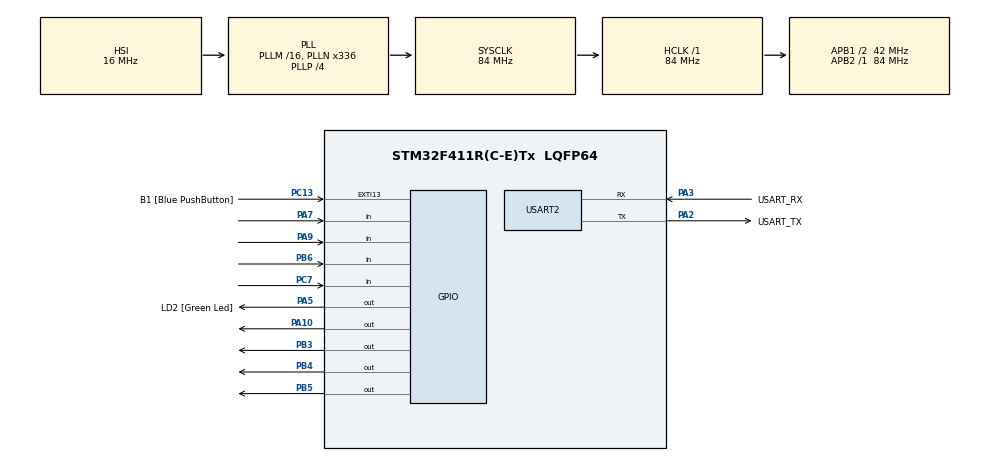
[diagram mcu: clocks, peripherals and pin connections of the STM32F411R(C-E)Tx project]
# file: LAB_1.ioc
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Mcu.Family=STM32F4
Mcu.Name=STM32F411R(C-E)Tx
Mcu.Package=LQFP64
NVIC.PriorityGroup=NVIC_PRIORITYGROUP_0
PA10.PinState=GPIO_PIN_SET
PA10.Signal=GPIO_Output
PA13.GPIO_Label=TMS
PA13.Mode=Serial_Wire
PA13.Signal=SYS_JTMS-SWDIO
PA14.GPIO_Label=TCK
PA14.Mode=Serial_Wire
PA14.Signal=SYS_JTCK-SWCLK
PA2.GPIO_Label=USART_TX
PA2.Mode=Asynchronous
PA2.Signal=USART2_TX
PA3.GPIO_Label=USART_RX
PA3.Mode=Asynchronous
PA3.Signal=USART2_RX
PA5.GPIO_Label=LD2 [Green Led]
PA5.Signal=GPIO_Output
PA7.GPIO_PuPd=GPIO_PULLUP
PA7.Signal=GPIO_Input
PA9.GPIO_PuPd=GPIO_PULLUP
PA9.Signal=GPIO_Input
PB3.PinState=GPIO_PIN_SET
PB3.Signal=GPIO_Output
PB4.PinState=GPIO_PIN_SET
PB4.Signal=GPIO_Output
PB5.PinState=GPIO_PIN_SET
PB5.Signal=GPIO_Output
PB6.GPIO_PuPd=GPIO_PULLUP
PB6.Signal=GPIO_Input
PC13-ANTI_TAMP.GPIO_Label=B1 [Blue PushButton]
PC13-ANTI_TAMP.GPIO_ModeDefaultEXTI=GPIO_MODE_IT_FALLING
PC13-ANTI_TAMP.Signal=GPXTI13
PC14-OSC32_IN.Mode=LSE-External-Oscillator
PC14-OSC32_IN.Signal=RCC_OSC32_IN
PC15-OSC32_OUT.Mode=LSE-External-Oscillator
PC15-OSC32_OUT.Signal=RCC_OSC32_OUT
PC7.GPIO_PuPd=GPIO_PULLUP
PC7.Signal=GPIO_Input
PH0\ -\ OSC_IN.Mode=HSE-External-Clock-Source
PH0\ -\ OSC_IN.Signal=RCC_OSC_IN
PH1\ -\ OSC_OUT.Mode=HSE-External-Clock-Source
PH1\ -\ OSC_OUT.Signal=RCC_OSC_OUT
ProjectManager.HeapSize=0x200
ProjectManager.StackSize=0x400
ProjectManager.TargetToolchain=STM32CubeIDE
RCC.48MHZClocksFreq_Value=84000000
RCC.AHBFreq_Value=84000000
RCC.APB1CLKDivider=RCC_HCLK_DIV2
RCC.APB1Freq_Value=42000000
RCC.APB1TimFreq_Value=84000000
RCC.APB2Freq_Value=84000000
RCC.APB2TimFreq_Value=84000000
RCC.CortexFreq_Value=84000000
RCC.FLatency-AdvancedSettings=FLASH_LATENCY_2
RCC.HCLKFreq_Value=84000000
RCC.HSE_VALUE=8000000
RCC.HSI_VALUE=16000000
RCC.PLLN=336
RCC.PLLP=RCC_PLLP_DIV4
RCC.SYSCLKFreq_VALUE=84000000
RCC.SYSCLKSource=RCC_SYSCLKSOURCE_PLLCLK
RCC.VCOOutputFreq_Value=336000000
USART2.VirtualMode=VM_ASYNC
board=NUCLEO-F411RE

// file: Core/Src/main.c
/* USER CODE BEGIN Header */
/**
  ******************************************************************************
  * @file           : main.c
  * @brief          : Main program body
  ******************************************************************************
  * @attention
  *
  * Copyright (c) 2023 STMicroelectronics.
  * All rights reserved.
  *
  * This software is licensed under terms that can be found in the LICENSE file
  * in the root directory of this software component.
  * If no LICENSE file comes with this software, it is provided AS-IS.
  *
  ******************************************************************************
  */
/* USER CODE END Header */
#include "main.h"

/* USER CODE BEGIN Includes */
//Pantawit Isaro
/* USER CODE END Includes */

UART_HandleTypeDef huart2;

/* USER CODE BEGIN PV */
typedef struct _PortPin
{
	GPIO_TypeDef* PORT;
	uint16_t PIN;
}PortPin;

PortPin R[4] =
{
		{ GPIOA, GPIO_PIN_10 },
		{ GPIOB, GPIO_PIN_3 } ,
		{ GPIOB, GPIO_PIN_5 } ,
		{ GPIOB, GPIO_PIN_4 }
};

PortPin L[4] =
{ 		{ GPIOA, GPIO_PIN_9 },
		{ GPIOC, GPIO_PIN_7 },
		{ GPIOB, GPIO_PIN_6 },
		{ GPIOA, GPIO_PIN_7 }
};

uint16_t ButtonMatrix = 0;
//uint32_t ButtonMatrix = 0;
int Btt_C = 0 ;
int Btt_L = 0;
int Check = 0;
int state = 0;
/* USER CODE END PV */

void SystemClock_Config(void);
static void MX_GPIO_Init(void);
static void MX_USART2_UART_Init(void);
/* USER CODE BEGIN PFP */
void ReadMatrixButton_1Row();
/* USER CODE END PFP */

int main(void)
{

  /* MCU Configuration--------------------------------------------------------*/

  /* Reset of all peripherals, Initializes the Flash interface and the Systick. */
  HAL_Init();

  /* Configure the system clock */
  SystemClock_Config();

  /* Initialize all configured peripherals */
  MX_GPIO_Init();
  MX_USART2_UART_Init();

  /* Infinite loop */
  while (1)
  {
	  static uint32_t timestamp = 0;
	  	  if(HAL_GetTick()>=timestamp){
	  		  timestamp = HAL_GetTick() + 10;
	  		  ReadMatrixButton_1Row();
	  	  }

	  		Btt_C = ButtonMatrix;
	  		if(Btt_L == 0 && Btt_C != 0){

	  			//Bttx = ButtonMatrix;
	  			Check = 1;
	  		}
	  		else{
	  			//Bttx = 0;
	  			Check = 0;
	  		}
	  		Btt_L = Btt_C;

	  	  if(Check !=0){
	  	  switch(state){
	  	  case 0:

		  	  if(ButtonMatrix == 512 && Check == 1)
		  	  {
		  		state = 1;
		  	  }
		  	  else if(ButtonMatrix!=512&& Check == 1){
		  		  state = 13;
		  	  }
		  	  break;
/////////////////////////////////////////////////////////////////////////////////
	  	  case 1:
	  		if(ButtonMatrix == 2 && Check == 1)
	  		{
	  			state = 2;
	  		}
		  	else if(ButtonMatrix!=2&& Check == 1)
		  	{
		  		state = 13;
		  	}
			break;
/////////////////////////////////////////////////////////////////////////////////
	  	  case 2:
			if(ButtonMatrix == 1024&& Check == 1)
			{
				state = 3;
			}
		  	else if(ButtonMatrix!=1024&& Check == 1)
		  	{
		  		state = 13;
		  	}
			break;
/////////////////////////////////////////////////////////////////////////////////
	  	  case 3:
			if(ButtonMatrix == 2&& Check == 1)
			{
				state = 4;
			}
		  	else if(ButtonMatrix!=2&& Check == 1)
		  	{
		  		state = 13;
		  	}
			break;
///////////////////////////////////////////////////////////////////////////////////
	  	  case 4:
			if(ButtonMatrix == 8&& Check == 1)
			{
				state = 5;
			}
		  	else if(ButtonMatrix!=8&& Check == 1)
		  	{
		  		state = 13;
		  	}
			break;
///////////////////////////////////////////////////////////////////////////////////
	  	  case 5:
			if(ButtonMatrix == 32&& Check == 1)
			{
				state = 6;
			}
		  	else if(ButtonMatrix!=32&& Check == 1)
		  	{
		  		state = 13;
		  	}
			break;
//////////////////////////////////////////////////////////////////////////////////
	  	  case 6:
			if(ButtonMatrix == 8&& Check == 1)
			{
				state = 7;
			}
		  	else if(ButtonMatrix!=8&& Check == 1)
		  	{
		  		state = 13;
		  	}
			break;
//////////////////////////////////////////////////////////////////////////////////
	  	  case 7:
			if(ButtonMatrix == 8&& Check == 1)
			{
				state = 8;
			}
		  	else if(ButtonMatrix!=8&& Check == 1)
		  	{
		  		state = 13;
		  	}
			break;
/////////////////////////////////////////////////////////////////////////////////
	  	  case 8:
			if(ButtonMatrix == 8&& Check == 1)
			{
				state = 9;
			}
		  	else if(ButtonMatrix!=2&& Check == 1)
		  	{
		  		state = 13;
		  	}
			break;
/////////////////////////////////////////////////////////////////////////////////
	  	  case 9:
			if(ButtonMatrix == 2&& Check == 1)
			{
				state = 10;
			}
		  	else if(ButtonMatrix!=2&& Check == 1)
		  	{
		  		state = 13;
		  	}
			break;
/////////////////////////////////////////////////////////////////////////////////
	  	  case 10:
			if(ButtonMatrix == 64&& Check == 1)
			{
				state = 11;
			}
		  	else if(ButtonMatrix!=64&& Check == 1)
		  	{
		  		state = 13;
		  	}
			break;
////////////////////////////////////////////////////////////////////////////////
	  	  case 11:
			if(ButtonMatrix == 32768&& Check == 1)
			{	HAL_GPIO_WritePin(GPIOA, GPIO_PIN_5, GPIO_PIN_SET);
				state = 12;
			}
		  	else if(ButtonMatrix!=32768&& Check == 1)
		  	{
		  		state = 13;
		  	}
			break;
///////////////////////////////////////////////////////////////////////////////
	  	  case 12:
	  		  //HAL_GPIO_WritePin(GPIOA, GPIO_PIN_5, GPIO_PIN_SET);
	  		  if (ButtonMatrix == 4096&& Check == 1){
	  			  HAL_GPIO_WritePin(GPIOA, GPIO_PIN_5, GPIO_PIN_RESET);
	  			  state = 0;
	  		  }
	  		  else if(ButtonMatrix!=4096&& Check == 1)
	  		  {
	  			state = 13;
	  		  }
	  	  break;
//////////////////////////////////////////////////////////////////////////////
	  	case 13:
				if(ButtonMatrix == 4096 && Check == 1)
				{
					state = 0;
				}
//				else if(ButtonMatrix!=4096 && Check == 1)
//			   {
//				state = 13;
//			  }
		break;

		Check = 0;
	  }

  }

  }
}

void SystemClock_Config(void)
{
  RCC_OscInitTypeDef RCC_OscInitStruct = {0};
  RCC_ClkInitTypeDef RCC_ClkInitStruct = {0};

  /** Configure the main internal regulator output voltage
  */
  __HAL_RCC_PWR_CLK_ENABLE();
  __HAL_PWR_VOLTAGESCALING_CONFIG(PWR_REGULATOR_VOLTAGE_SCALE1);

  /** Initializes the RCC Oscillators according to the specified parameters
  * in the RCC_OscInitTypeDef structure.
  */
  RCC_OscInitStruct.OscillatorType = RCC_OSCILLATORTYPE_HSI;
  RCC_OscInitStruct.HSIState = RCC_HSI_ON;
  RCC_OscInitStruct.HSICalibrationValue = RCC_HSICALIBRATION_DEFAULT;
  RCC_OscInitStruct.PLL.PLLState = RCC_PLL_ON;
  RCC_OscInitStruct.PLL.PLLSource = RCC_PLLSOURCE_HSI;
  RCC_OscInitStruct.PLL.PLLM = 16;
  RCC_OscInitStruct.PLL.PLLN = 336;
  RCC_OscInitStruct.PLL.PLLP = RCC_PLLP_DIV4;
  RCC_OscInitStruct.PLL.PLLQ = 4;
  if (HAL_RCC_OscConfig(&RCC_OscInitStruct) != HAL_OK)
  {
    Error_Handler();
  }

  /** Initializes the CPU, AHB and APB buses clocks
  */
  RCC_ClkInitStruct.ClockType = RCC_CLOCKTYPE_HCLK|RCC_CLOCKTYPE_SYSCLK
                              |RCC_CLOCKTYPE_PCLK1|RCC_CLOCKTYPE_PCLK2;
  RCC_ClkInitStruct.SYSCLKSource = RCC_SYSCLKSOURCE_PLLCLK;
  RCC_ClkInitStruct.AHBCLKDivider = RCC_SYSCLK_DIV1;
  RCC_ClkInitStruct.APB1CLKDivider = RCC_HCLK_DIV2;
  RCC_ClkInitStruct.APB2CLKDivider = RCC_HCLK_DIV1;

  if (HAL_RCC_ClockConfig(&RCC_ClkInitStruct, FLASH_LATENCY_2) != HAL_OK)
  {
    Error_Handler();
  }
}

static void MX_USART2_UART_Init(void)
{

  huart2.Instance = USART2;
  huart2.Init.BaudRate = 115200;
  huart2.Init.WordLength = UART_WORDLENGTH_8B;
  huart2.Init.StopBits = UART_STOPBITS_1;
  huart2.Init.Parity = UART_PARITY_NONE;
  huart2.Init.Mode = UART_MODE_TX_RX;
  huart2.Init.HwFlowCtl = UART_HWCONTROL_NONE;
  huart2.Init.OverSampling = UART_OVERSAMPLING_16;
  if (HAL_UART_Init(&huart2) != HAL_OK)
  {
    Error_Handler();
  }

}

static void MX_GPIO_Init(void)
{
  GPIO_InitTypeDef GPIO_InitStruct = {0};

  /* GPIO Ports Clock Enable */
  __HAL_RCC_GPIOC_CLK_ENABLE();
  __HAL_RCC_GPIOH_CLK_ENABLE();
  __HAL_RCC_GPIOA_CLK_ENABLE();
  __HAL_RCC_GPIOB_CLK_ENABLE();

  /*Configure GPIO pin Output Level */
  HAL_GPIO_WritePin(LD2_GPIO_Port, LD2_Pin, GPIO_PIN_RESET);

  /*Configure GPIO pin Output Level */
  HAL_GPIO_WritePin(GPIOA, GPIO_PIN_10, GPIO_PIN_SET);

  /*Configure GPIO pin Output Level */
  HAL_GPIO_WritePin(GPIOB, GPIO_PIN_3|GPIO_PIN_4|GPIO_PIN_5, GPIO_PIN_SET);

  /*Configure GPIO pin : B1_Pin */
  GPIO_InitStruct.Pin = B1_Pin;
  GPIO_InitStruct.Mode = GPIO_MODE_IT_FALLING;
  GPIO_InitStruct.Pull = GPIO_NOPULL;
  HAL_GPIO_Init(B1_GPIO_Port, &GPIO_InitStruct);

  /*Configure GPIO pins : LD2_Pin PA10 */
  GPIO_InitStruct.Pin = LD2_Pin|GPIO_PIN_10;
  GPIO_InitStruct.Mode = GPIO_MODE_OUTPUT_PP;
  GPIO_InitStruct.Pull = GPIO_NOPULL;
  GPIO_InitStruct.Speed = GPIO_SPEED_FREQ_LOW;
  HAL_GPIO_Init(GPIOA, &GPIO_InitStruct);

  /*Configure GPIO pins : PA7 PA9 */
  GPIO_InitStruct.Pin = GPIO_PIN_7|GPIO_PIN_9;
  GPIO_InitStruct.Mode = GPIO_MODE_INPUT;
  GPIO_InitStruct.Pull = GPIO_PULLUP;
  HAL_GPIO_Init(GPIOA, &GPIO_InitStruct);

  /*Configure GPIO pin : PC7 */
  GPIO_InitStruct.Pin = GPIO_PIN_7;
  GPIO_InitStruct.Mode = GPIO_MODE_INPUT;
  GPIO_InitStruct.Pull = GPIO_PULLUP;
  HAL_GPIO_Init(GPIOC, &GPIO_InitStruct);

  /*Configure GPIO pins : PB3 PB4 PB5 */
  GPIO_InitStruct.Pin = GPIO_PIN_3|GPIO_PIN_4|GPIO_PIN_5;
  GPIO_InitStruct.Mode = GPIO_MODE_OUTPUT_PP;
  GPIO_InitStruct.Pull = GPIO_NOPULL;
  GPIO_InitStruct.Speed = GPIO_SPEED_FREQ_LOW;
  HAL_GPIO_Init(GPIOB, &GPIO_InitStruct);

  /*Configure GPIO pin : PB6 */
  GPIO_InitStruct.Pin = GPIO_PIN_6;
  GPIO_InitStruct.Mode = GPIO_MODE_INPUT;
  GPIO_InitStruct.Pull = GPIO_PULLUP;
  HAL_GPIO_Init(GPIOB, &GPIO_InitStruct);

}

/* USER CODE BEGIN 4 */
void ReadMatrixButton_1Row() {
    static uint8_t X = 0;
    register int i;
    for (i = 0; i < 4; i++) {
        if (HAL_GPIO_ReadPin(L[i].PORT, L[i].PIN)) {
            ButtonMatrix &= ~(1 << (X * 4 + i));
        } else {
            ButtonMatrix |= 1 << (X * 4 + i);
        }
    }
    HAL_GPIO_WritePin(R[X].PORT, R[X].PIN, 1);
    HAL_GPIO_WritePin(R[(X + 1) % 4].PORT, R[(X + 1) % 4].PIN, 0);
    X++;
    X %= 4;
}
/* USER CODE END 4 */

void Error_Handler(void)
{
  __disable_irq();
  while (1)
  {
  }
}
